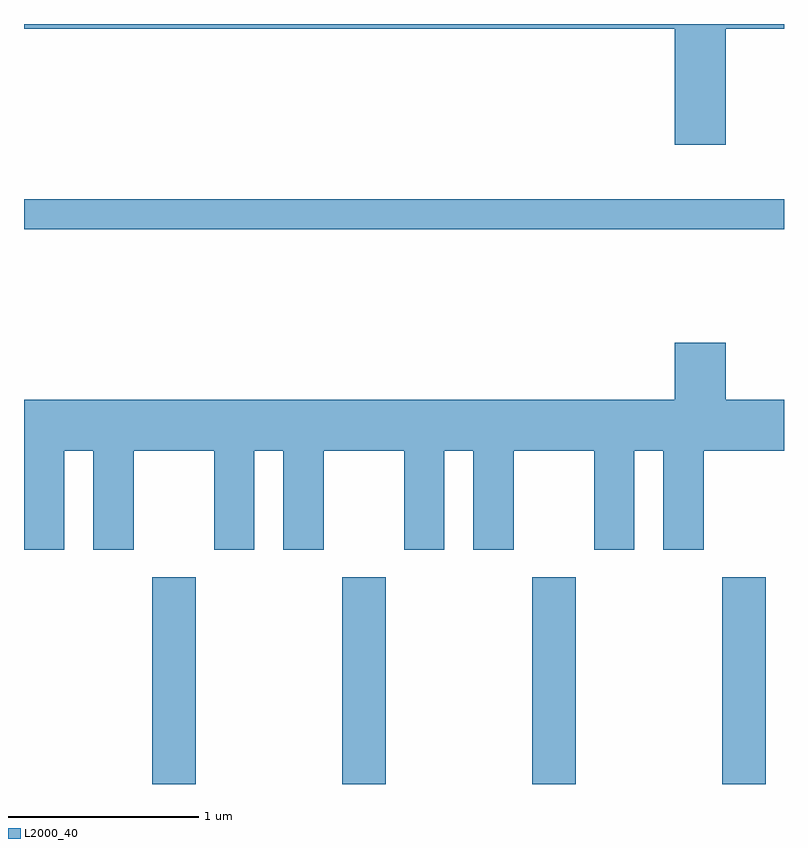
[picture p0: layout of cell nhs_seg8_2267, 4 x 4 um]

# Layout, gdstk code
import gdstk
lib = gdstk.Library(unit=1e-6, precision=1e-09)
def R(c, l, rs):  # rectangles x0, y0, x1, y1
    for r in rs: c.add(gdstk.rectangle(r[:2], r[2:], *l))
def A(c, l, x, y, w, h, nx, ny, dx, dy):  # array of equal rectangles
    R(c, l, [(x+i*dx, y+j*dy, x+i*dx+w, y+j*dy+h) for i in range(nx) for j in range(ny)])
def P(c, l, *ps):  # polygons
    for p in ps: c.add(gdstk.Polygon(p, *l))
L2000_40 = (2000, 40)

nhs_seg8_2267 = lib.new_cell('nhs_seg8_2267')
A(nhs_seg8_2267, L2000_40, 252.286, 1932.342, 0.228, 1.087, 4, 1, 1, 0)
R(nhs_seg8_2267, L2000_40, [(251.611,1935.261,255.611,1935.419)])
P(nhs_seg8_2267, L2000_40, [(251.611,1936.316),(255.036,1936.316),(255.036,1935.706),(255.304,1935.706),(255.304,1936.316),(255.611,1936.316),(255.611,1936.342),(251.611,1936.342)],
  [(251.824,1934.096),(251.976,1934.096),(251.976,1933.576),(252.189,1933.576),(252.189,1934.096),(252.611,1934.096),(252.611,1933.576),(252.824,1933.576),(252.824,1934.096),(252.976,1934.096),(252.976,1933.576),(253.189,1933.576),(253.189,1934.096),(253.611,1934.096),(253.611,1933.576),(253.824,1933.576),(253.824,1934.096),(253.976,1934.096),(253.976,1933.576),(254.189,1933.576),(254.189,1934.096),(254.611,1934.096),(254.611,1933.576),(254.824,1933.576),(254.824,1934.096),(254.976,1934.096),(254.976,1933.576),(255.189,1933.576),(255.189,1934.096),(255.611,1934.096),(255.611,1934.364),(255.304,1934.364),(255.304,1934.664),(255.036,1934.664),(255.036,1934.364),(251.611,1934.364),(251.611,1933.576),(251.824,1933.576)])

lib.write_gds('nhs_seg8_2267.gds')
